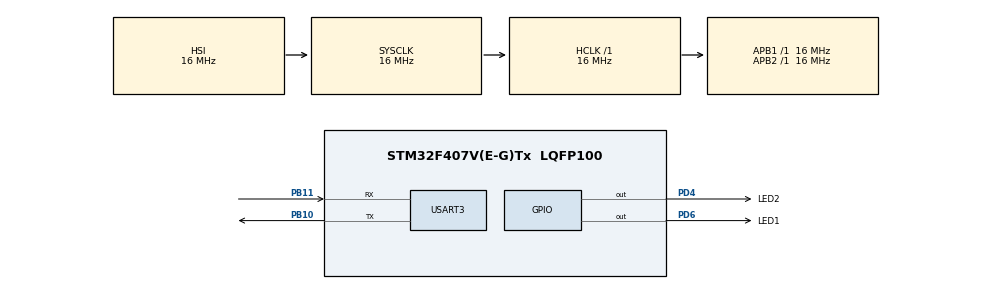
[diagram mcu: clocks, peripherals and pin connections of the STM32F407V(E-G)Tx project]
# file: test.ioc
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Mcu.Family=STM32F4
Mcu.Name=STM32F407V(E-G)Tx
Mcu.Package=LQFP100
NVIC.PriorityGroup=NVIC_PRIORITYGROUP_4
NVIC.USART3_IRQn=true\:0\:0\:false\:false\:true\:true\:true\:true
PA13.Mode=Serial_Wire
PA13.Signal=SYS_JTMS-SWDIO
PA14.Mode=Serial_Wire
PA14.Signal=SYS_JTCK-SWCLK
PB10.Mode=Asynchronous
PB10.Signal=USART3_TX
PB11.Mode=Asynchronous
PB11.Signal=USART3_RX
PD4.GPIO_Label=LED2
PD4.Signal=GPIO_Output
PD6.GPIO_Label=LED1
PD6.Signal=GPIO_Output
ProjectManager.HeapSize=0x200
ProjectManager.StackSize=0x400
ProjectManager.TargetToolchain=STM32CubeIDE
RCC.AHBFreq_Value=16000000
RCC.APB1Freq_Value=16000000
RCC.APB2Freq_Value=16000000
RCC.CortexFreq_Value=16000000
RCC.HSE_VALUE=25000000
RCC.HSI_VALUE=16000000
RCC.LSE_VALUE=32768
RCC.SYSCLKFreq_VALUE=16000000
RCC.VCOOutputFreq_Value=192000000
USART3.VirtualMode=VM_ASYNC
board=custom

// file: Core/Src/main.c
/* USER CODE BEGIN Header */
/**
 ******************************************************************************
 * @file           : main.c
 * @brief          : Main program body
 ******************************************************************************
 * @attention
 *
 * Copyright (c) 2024 STMicroelectronics.
 * All rights reserved.
 *
 * This software is licensed under terms that can be found in the LICENSE file
 * in the root directory of this software component.
 * If no LICENSE file comes with this software, it is provided AS-IS.
 *
 ******************************************************************************
 */
/* USER CODE END Header */
#include "main.h"

/* USER CODE BEGIN Includes */
#include <string.h>
#include <stdio.h>
#include <stdlib.h>
/* USER CODE END Includes */

/* USER CODE BEGIN PM */
enum eCommand {
	SET_DEV_ID = 1, SET_LED_STATE, GET_DEV_ID, GET_LED_STATE,
};
/* USER CODE END PM */

UART_HandleTypeDef huart3;

/* USER CODE BEGIN PV */
char rxBuffer[50] = { 0 }; //Khai báo bộ đệm để chứa dữ liệu đến
enum eCommand eCmd = 0;
char deviceID[7] = { 0 }; //Lưu ID của thiết bị
uint8_t ledOrder = 0; //Số thứ tự của led
uint8_t ledState = 0; //Trạng thái của đèn led
uint8_t rxFlag = 0;
/* USER CODE END PV */

void SystemClock_Config(void);
static void MX_GPIO_Init(void);
static void MX_USART3_UART_Init(void);

/* USER CODE BEGIN 0 */
/* In phản hồi ra màn hình terminal */
void response(char *string);

/* Xoá bộ đệm nhận dữ liệu */
void deleteRxData();

/* Kiểm tra dữ liệu nhận được là command nào */
void checkCommand();

/* Hàm cấu hình ID cho thiết bị */
void setDeviceID();

/* Hàm lấy ID của thiết bị */
void getDeviceID();

/* Hàm cấu hình trạng thái cho đèn led */
void setLedState();

/* Hàm lấy trạng thái của đèn led */
void getLedState();
/* USER CODE END 0 */

int main(void) {

	/* MCU Configuration--------------------------------------------------------*/

	/* Reset of all peripherals, Initializes the Flash interface and the Systick. */
	HAL_Init();

	/* Configure the system clock */
	SystemClock_Config();

	/* Initialize all configured peripherals */
	MX_GPIO_Init();
	MX_USART3_UART_Init();
	/* USER CODE BEGIN 2 */

	HAL_Delay(2000);
	HAL_UARTEx_ReceiveToIdle_IT(&huart3, (uint8_t*) rxBuffer, 50);
	/* USER CODE END 2 */

	/* Infinite loop */
	/* USER CODE BEGIN WHILE */
	while (1) {
		if (rxFlag == 1) {
			commandHandler();
			rxFlag = 0;
		}
		/* USER CODE END WHILE */

	}
}

void SystemClock_Config(void) {
	RCC_OscInitTypeDef RCC_OscInitStruct = { 0 };
	RCC_ClkInitTypeDef RCC_ClkInitStruct = { 0 };

	/** Configure the main internal regulator output voltage
	 */
	__HAL_RCC_PWR_CLK_ENABLE();
	__HAL_PWR_VOLTAGESCALING_CONFIG(PWR_REGULATOR_VOLTAGE_SCALE1);

	/** Initializes the RCC Oscillators according to the specified parameters
	 * in the RCC_OscInitTypeDef structure.
	 */
	RCC_OscInitStruct.OscillatorType = RCC_OSCILLATORTYPE_HSI;
	RCC_OscInitStruct.HSIState = RCC_HSI_ON;
	RCC_OscInitStruct.HSICalibrationValue = RCC_HSICALIBRATION_DEFAULT;
	RCC_OscInitStruct.PLL.PLLState = RCC_PLL_NONE;
	if (HAL_RCC_OscConfig(&RCC_OscInitStruct) != HAL_OK) {
		Error_Handler();
	}

	/** Initializes the CPU, AHB and APB buses clocks
	 */
	RCC_ClkInitStruct.ClockType = RCC_CLOCKTYPE_HCLK | RCC_CLOCKTYPE_SYSCLK
			| RCC_CLOCKTYPE_PCLK1 | RCC_CLOCKTYPE_PCLK2;
	RCC_ClkInitStruct.SYSCLKSource = RCC_SYSCLKSOURCE_HSI;
	RCC_ClkInitStruct.AHBCLKDivider = RCC_SYSCLK_DIV1;
	RCC_ClkInitStruct.APB1CLKDivider = RCC_HCLK_DIV1;
	RCC_ClkInitStruct.APB2CLKDivider = RCC_HCLK_DIV1;

	if (HAL_RCC_ClockConfig(&RCC_ClkInitStruct, FLASH_LATENCY_0) != HAL_OK) {
		Error_Handler();
	}
}

static void MX_USART3_UART_Init(void) {

	huart3.Instance = USART3;
	huart3.Init.BaudRate = 115200;
	huart3.Init.WordLength = UART_WORDLENGTH_8B;
	huart3.Init.StopBits = UART_STOPBITS_1;
	huart3.Init.Parity = UART_PARITY_NONE;
	huart3.Init.Mode = UART_MODE_TX_RX;
	huart3.Init.HwFlowCtl = UART_HWCONTROL_NONE;
	huart3.Init.OverSampling = UART_OVERSAMPLING_16;
	if (HAL_UART_Init(&huart3) != HAL_OK) {
		Error_Handler();
	}

}

static void MX_GPIO_Init(void) {
	GPIO_InitTypeDef GPIO_InitStruct = { 0 };

	/* GPIO Ports Clock Enable */
	__HAL_RCC_GPIOB_CLK_ENABLE();
	__HAL_RCC_GPIOA_CLK_ENABLE();
	__HAL_RCC_GPIOD_CLK_ENABLE();

	/*Configure GPIO pin Output Level */
	HAL_GPIO_WritePin(GPIOD, LED2_Pin | LED1_Pin, GPIO_PIN_RESET);

	/*Configure GPIO pins : LED2_Pin LED1_Pin */
	GPIO_InitStruct.Pin = LED2_Pin | LED1_Pin;
	GPIO_InitStruct.Mode = GPIO_MODE_OUTPUT_PP;
	GPIO_InitStruct.Pull = GPIO_NOPULL;
	GPIO_InitStruct.Speed = GPIO_SPEED_FREQ_LOW;
	HAL_GPIO_Init(GPIOD, &GPIO_InitStruct);

}

/* USER CODE BEGIN 4 */
/* In phản hồi ra màn hình terminal */
void response(char *string) {
	HAL_UART_Transmit(&huart3, (uint8_t*) string, strlen(string), 1000);
}

/* Xoá bộ đệm nhận dữ liệu */
void deleteRxData() {
	memset(rxBuffer, '\0', 50);
}

/* Kiểm tra dữ liệu nhận được là command nào */
void checkCommand() {
	if (strstr(rxBuffer, "*SET_DEV_ID:") != NULL)
		eCmd = SET_DEV_ID;
	else if (strstr(rxBuffer, "*GET_DEV_ID") != NULL)
		eCmd = GET_DEV_ID;
	else if (strstr(rxBuffer, "*SET_LED_STATE:") != NULL)
		eCmd = SET_LED_STATE;
	else if (strstr(rxBuffer, "*GET_LED_STATE:") != NULL)
		eCmd = GET_LED_STATE;
	else
		eCmd = 0;
}

/* Hàm cấu hình ID cho thiết bị */
void setDeviceID() {
	/* Kiểm tra độ dài của command +SET_DEV_ID:123456\r\n */
	if (strlen(rxBuffer) == 20) {
		/*Tách ID thiết bị */
		//Cách 1: sử dụng strtok
		char *token = NULL;
		token = strtok(rxBuffer, ":"); //+SET_DEV_ID
		token = strtok(NULL, "\r"); //123456
		memcpy(deviceID, token, 6); //deviceID = 123456;
		token = NULL;
		//Cách 2: sử dụng memcpy
		//memcpy(deviceID, rxBuffer + 12, 6);
		response("\r\n+OK\r\n ");
	} else {
		response("\r\n+ERROR:error command\r\n");
	}
}

/* Hàm lấy ID của thiết bị */
void getDeviceID() {
	/* Kiểm tra độ dài command +GET_DEV_ID\r\n */
	if (strlen(rxBuffer) == 13) {
		/* Kiểm tra độ dài của deviceID */
		if (strlen(deviceID) == 0) {
			response("\r\n+ERROR:undefined\r\n");
		} else {
			char *buffer = malloc(20 * sizeof(char));      //cấp phát động
			memset(buffer, '\0', 20); //xoá bộ đệm buffer
			sprintf(buffer, "\r\n+ID:%s\r\nOK\r\n", deviceID);
			response(buffer);
			free(buffer);
			buffer = NULL;
		}
	} else {
		response("+ERROR:error command\r\n");
	}
}

/* Hàm cấu hình trạng thái cho đèn led */
void setLedState() {
	/* Kiểm tra độ dài của command +SET_LED_STATE:n,s\r\n (n = 1, 2), (s = 0, 1)*/
	if (strlen(rxBuffer) == 20) {
		/* Tách số thứ tự của led */
		char *token = NULL;
		token = strtok(rxBuffer, ":"); //+SET_LED_STATE
		token = strtok(NULL, ","); //n
		ledOrder = atoi(token);
		/* Tách trạng thái của led */
		token = strtok(NULL, "\r"); //s
		ledState = atoi(token);
		token = NULL;

		if ((ledState == 0) || (ledState) == 1) {
			if (ledOrder == 1) {
				HAL_GPIO_WritePin(LED1_GPIO_Port, LED1_Pin, ledState);
				response("\r\nOK\r\n");
			} else if (ledOrder == 2) {
				HAL_GPIO_WritePin(LED2_GPIO_Port, LED2_Pin, ledState);
				response("\r\nOK\r\n");
			} else
				response("\r\n+ERROR:undefined led\r\n");
		} else {
			response("\r\n+ERROR:undefined state\r\n");
		}

	} else {
		response("\r\n+ERROR:error command\r\n");
	}
}

/* Hàm lấy trạng thái của đèn led */
void getLedState() {
	/* Kiểm tra độ dài command +GET_LED_STATE:n\r\n */
	if (strlen(rxBuffer) == 18) {
		char *token = NULL;
		token = strtok(rxBuffer, ":"); //+SET_LED_STATE
		/* Tách thứ tự của led */
		token = strtok(NULL, "\r"); //s
		ledOrder = atoi(token);
		token = NULL;

		char buffer[20] = { 0 };
		if (ledOrder == 1) {
			sprintf(buffer, "\r\n+LED:%d,%d\r\nOK\r\n", ledOrder,
					HAL_GPIO_ReadPin(LED1_GPIO_Port, LED1_Pin));
			response(buffer);
		} else if (ledOrder == 2) {
			sprintf(buffer, "\r\n+LED:%d,%d\r\nOK\r\n", ledOrder,
					HAL_GPIO_ReadPin(LED2_GPIO_Port, LED2_Pin));
			response(buffer);
		} else
			response("\r\n+ERROR:undefined led\r\n");
	} else {
		response("\r\n+ERROR:error command\r\n");
	}
}

/* Hàm xử lý chính */
void commandHandler() {
	switch (eCmd) {
	case SET_DEV_ID:
		setDeviceID();
		break;
	case GET_DEV_ID:
		getDeviceID();
		break;
	case SET_LED_STATE:
		setLedState();
		break;
	case GET_LED_STATE:
		getLedState();
		break;
	default:
		break;
	}
	eCmd = 0;
	deleteRxData();
}

/* Hàm gọi lại xử lý phục vụ ngắt UART */
void HAL_UARTEx_RxEventCallback(UART_HandleTypeDef *huart, uint16_t Size) {
	if (huart->Instance == USART3) {
		checkCommand();
		rxFlag = 1;
		//HAL_UART_Transmit(huart, (uint8_t *) "\n", 1, 100);
		//HAL_UART_Transmit(huart, (uint8_t *) rxBuffer, strlen(rxBuffer), 100);
		HAL_UARTEx_ReceiveToIdle_IT(&huart3, (uint8_t*) rxBuffer, 50);
	}
}
/* USER CODE END 4 */

void Error_Handler(void) {
	__disable_irq();
	while (1) {
	}
}
